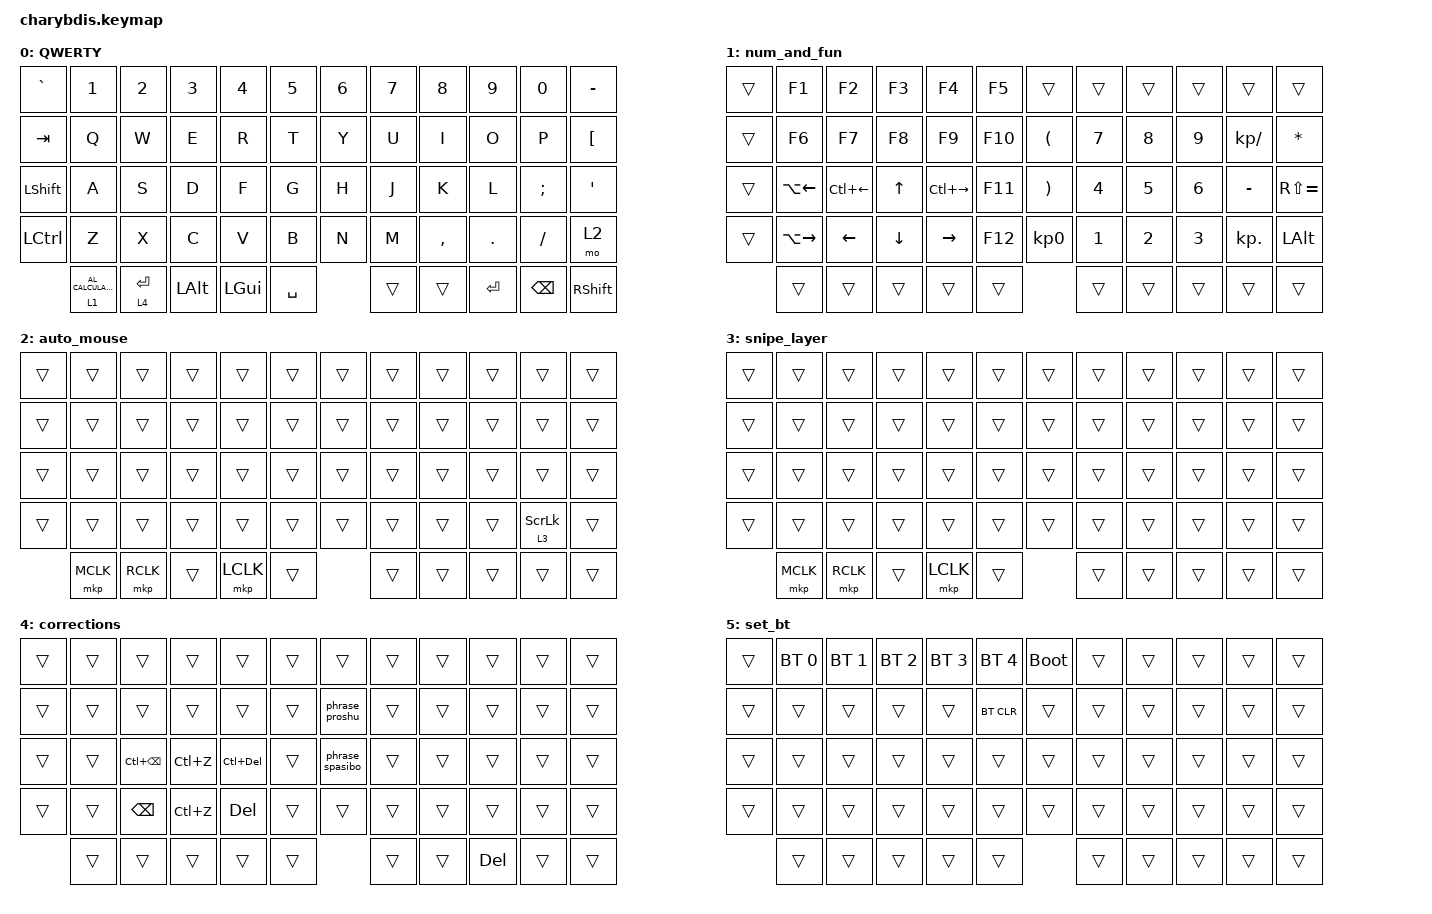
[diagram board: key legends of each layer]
#include <behaviors/mouse_keys.dtsi>
#include <behaviors.dtsi>
#include <dt-bindings/zmk/bt.h>
#include <dt-bindings/zmk/keys.h>
#include <dt-bindings/zmk/mouse.h>
#include <dt-bindings/zmk/outputs.h>

#define U_TAPPING_TERM 200

/ {
    chosen { zmk,matrix_transform = &default_transform; };
};

/ {
    combos {
        compatible = "zmk,combos";

        // Математические символы
        minus { 
            bindings = <&kp MINUS>; 
            key-positions = <31 30>; 
        };
        
        underscore { 
            bindings = <&kp UNDER>; 
            key-positions = <42 43>; 
        };
        
        equal { 
            bindings = <&kp EQUAL>; 
            key-positions = <40 41>; 
        };
        
        plus { 
            bindings = <&kp PLUS>; 
            key-positions = <18 19>; 
        };
        
        less { 
            bindings = <&kp LESS_THAN>; 
            key-positions = <39 40>; 
        };
        
        greater { 
            bindings = <&kp GREATER_THAN>; 
            key-positions = <43 44>; 
        };

        // Скобки круглые
        par { 
            bindings = <&kp RIGHT_PARENTHESIS>; 
            key-positions = <31 32>; 
            require-prior-idle-ms = <100>; 
        };
        
        par2 { 
            bindings = <&kp LEFT_PARENTHESIS>; 
            key-positions = <27 28>; 
            require-prior-idle-ms = <100>; 
        };

        // Скобки квадратные
        bra { 
            bindings = <&kp LEFT_BRACKET>; 
            key-positions = <15 16>; 
        };
        
        right { 
            bindings = <&kp RIGHT_BRACKET>; 
            key-positions = <19 20>; 
        };

        // Специальные клавиши
        esc { 
            bindings = <&kp ESCAPE>; 
            key-positions = <0 1>; 
        };
        
        logoff { 
            bindings = <&kp LG(L)>; 
            key-positions = <0 12>; 
        };

        // Bluetooth слой
        LAYER_BT { 
            bindings = <&mo 5>; 
            key-positions = <36 47>; 
        };

        // Скролл
        Scroll_L { 
            bindings = <&msc SCRL_LEFT>; 
            key-positions = <24 36>; 
        };
        
        Scroll_R { 
            bindings = <&msc SCRL_RIGHT>; 
            key-positions = <25 37>; 
        };
    };

    behaviors {
        phrase_proshu: phrase_proshu {
            compatible = "zmk,behavior-macro";
            label = "phrase_proshu";
            #binding-cells = <0>;
            bindings =
                <&macro_press>,
                <&kp LSHIFT>,
                <&macro_tap>,
                <&kp G>,
                <&macro_release>,
                <&kp LSHIFT>,
                <&macro_tap>,
                <&kp H>,
                <&macro_tap>,
                <&kp J>,
                <&macro_tap>,
                <&kp I>,
                <&macro_tap>,
                <&kp E>,
                <&macro_tap>,
                <&kp SPACE>,
                <&macro_tap>,
                <&kp H>,
                <&macro_tap>,
                <&kp F>,
                <&macro_tap>,
                <&kp C>,
                <&macro_tap>,
                <&kp C>,
                <&macro_tap>,
                <&kp V>,
                <&macro_tap>,
                <&kp J>,
                <&macro_tap>,
                <&kp N>,
                <&macro_tap>,
                <&kp H>,
                <&macro_tap>,
                <&kp T>,
                <&macro_tap>,
                <&kp N>,
                <&macro_tap>,
                <&kp M>,
                <&macro_press>,
                <&kp LCTRL>,
                <&macro_tap>,
                <&kp ENTER>,
                <&macro_release>,
                <&kp LCTRL>;
        };

        phrase_spasibo: phrase_spasibo {
            compatible = "zmk,behavior-macro";
            label = "phrase_spasibo";
            #binding-cells = <0>;
            bindings =
                <&macro_press>,
                <&kp LSHIFT>,
                <&macro_tap>,
                <&kp C>,
                <&macro_release>,
                <&kp LSHIFT>,
                <&macro_tap>,
                <&kp G>,
                <&macro_tap>,
                <&kp F>,
                <&macro_tap>,
                <&kp C>,
                <&macro_tap>,
                <&kp B>,
                <&macro_tap>,
                <&kp COMMA>,
                <&macro_tap>,
                <&kp J>,
                <&macro_tap>,
                <&kp EXCL>,
                <&macro_press>,
                <&kp LCTRL>,
                <&macro_tap>,
                <&kp ENTER>,
                <&macro_release>,
                <&kp LCTRL>;
        };
    };

    keymap {
        compatible = "zmk,keymap";

        QWERTY {
            bindings = <
&kp GRAVE   &kp N1      &kp N2                  &kp N3        &kp N4         &kp N5              &kp N6           &kp N7      &kp N8     &kp N9    &kp N0     &kp MINUS
&kp TAB     &kp Q       &kp W                   &kp E         &kp R          &kp T               &kp Y            &kp U       &kp I      &kp O     &kp P      &kp LEFT_BRACKET
&kp LSHFT   &kp A       &kp S                   &kp D         &kp F          &kp G               &kp H            &kp J       &kp K      &kp L     &kp SEMI   &kp APOS
&kp LCTRL   &kp Z       &kp X                   &kp C         &kp V          &kp B               &kp N            &kp M       &kp COMMA  &kp DOT   &kp FSLH   &mo 2
            &lt 1 C_AL_CALCULATOR   &lt 4 ENTER   &kp LEFT_ALT  &kp LGUI       &kp SPACE           &trans           &trans      &kp ENTER    &kp BACKSPACE  &kp RSHIFT
            >;
        };

        num_and_fun {
            bindings = <
&trans  &kp F1              &kp F2              &kp F3          &kp F4              &kp F5               &trans           &trans           &trans           &trans        &trans         &trans
&trans  &kp F6              &kp F7              &kp F8          &kp F9              &kp F10              &kp LPAR         &kp NUMBER_7     &kp NUMBER_8     &kp NUMBER_9  &kp KP_DIVIDE  &kp ASTERISK
&trans  &kp LA(LEFT_ARROW)  &kp LC(LEFT_ARROW)  &kp UP_ARROW    &kp LC(RIGHT_ARROW)  &kp F11              &kp RPAR         &kp NUMBER_4     &kp NUMBER_5     &kp NUMBER_6  &kp MINUS      &kp RS(EQUAL)
&trans  &kp LA(RIGHT_ARROW) &kp LEFT_ARROW      &kp DOWN_ARROW  &kp RIGHT_ARROW     &kp F12              &kp KP_NUMBER_0  &kp NUMBER_1     &kp NUMBER_2     &kp NUMBER_3  &kp KP_DOT     &kp LEFT_ALT
        &trans              &trans              &trans          &trans              &trans               &trans           &trans           &trans           &trans        &trans
            >;
        };

        auto_mouse {
            bindings = <
&trans  &trans     &trans     &trans  &trans     &trans         &trans  &trans  &trans  &trans  &trans           &trans
&trans  &trans     &trans     &trans  &trans     &trans         &trans  &trans  &trans  &trans  &trans           &trans
&trans  &trans     &trans     &trans  &trans     &trans         &trans  &trans  &trans  &trans  &trans           &trans
&trans  &trans     &trans     &trans  &trans     &trans         &trans  &trans  &trans  &trans  &lt 3 SCROLLLOCK &trans  
        &mkp MCLK  &mkp RCLK  &trans  &mkp LCLK  &trans         &trans  &trans  &trans  &trans  &trans
            >;
        };

        snipe_layer {
            bindings = <
&trans  &trans     &trans     &trans  &trans     &trans         &trans  &trans  &trans  &trans  &trans  &trans
&trans  &trans     &trans     &trans  &trans     &trans         &trans  &trans  &trans  &trans  &trans  &trans
&trans  &trans     &trans     &trans  &trans     &trans         &trans  &trans  &trans  &trans  &trans  &trans
&trans  &trans     &trans     &trans  &trans     &trans         &trans  &trans  &trans  &trans  &trans  &trans  
        &mkp MCLK  &mkp RCLK  &trans  &mkp LCLK  &trans         &trans  &trans  &trans  &trans  &trans
            >;
        };

        corrections {
            bindings = <
&trans  &trans  &trans             &trans     &trans          &trans          &trans           &trans  &trans      &trans  &trans  &trans
&trans  &trans  &trans             &trans     &trans          &trans          &phrase_proshu   &trans  &trans      &trans  &trans  &trans
&trans  &trans  &kp LC(BACKSPACE)  &kp LC(Z)  &kp LC(DELETE)  &trans          &phrase_spasibo  &trans  &trans      &trans  &trans  &trans
&trans  &trans  &kp BACKSPACE      &kp LC(Z)  &kp DELETE      &trans          &trans           &trans  &trans      &trans  &trans  &trans
        &trans  &trans             &trans     &trans          &trans          &trans           &trans  &kp DELETE  &trans  &trans
            >;
        };

        set_bt {
            bindings = <
&trans  &bt BT_SEL 0  &bt BT_SEL 1  &bt BT_SEL 2  &bt BT_SEL 3  &bt BT_SEL 4      &bootloader  &trans  &trans  &trans  &trans  &trans
&trans  &trans        &trans        &trans        &trans        &bt BT_CLR        &trans       &trans  &trans  &trans  &trans  &trans
&trans  &trans        &trans        &trans        &trans        &trans            &trans       &trans  &trans  &trans  &trans  &trans
&trans  &trans        &trans        &trans        &trans        &trans            &trans       &trans  &trans  &trans  &trans  &trans
        &trans        &trans        &trans        &trans        &trans            &trans       &trans  &trans  &trans  &trans
            >;
        };
    };
};
